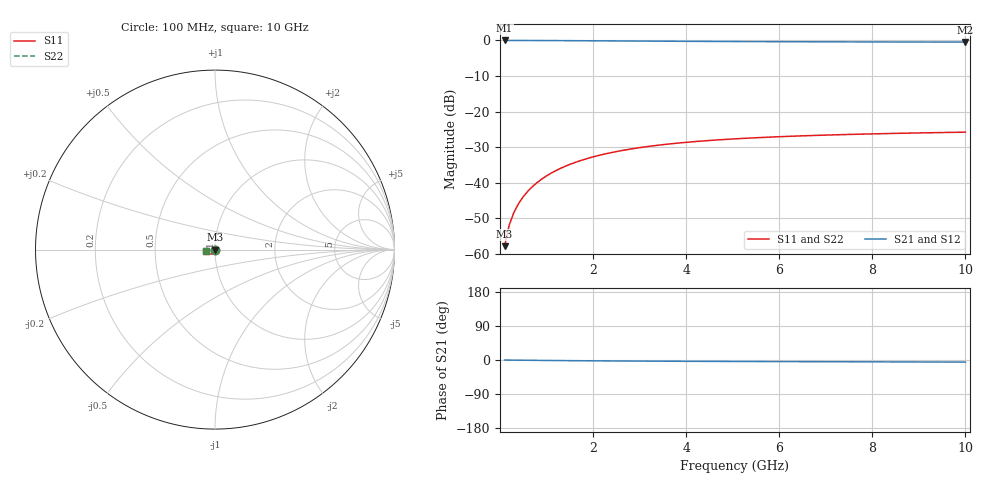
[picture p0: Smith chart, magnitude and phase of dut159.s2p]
! Touchstone file exported from HFSS 2024.1.0
!  File:  C:/UserFiles/LocalFiles/RDL_TSV_Batchsim/temp_TSV1_159_1779382202.aedt
!  Generated:  12:55:23 AM May 22, 2026
!  Design:  TSV1
!  Project:  temp_TSV1_159_1779382202
!  Setup:  Setup1
!  Solution:  Sweep
! Variables:
!  dtsv = 9.13um
!  hbump = 3um
!  htsv = 88.18um
!  lrdl = 252.1521522um
!  p = 40
!  p1 = 40.37um
!  t = 500um
!  trdl = 3um
!  wrdl = 24.89489489um
# GHz S MA R 50.000000
! Terminal data exported
! Port[1] = TSV22_T1
! Port[2] = TSV22_T2
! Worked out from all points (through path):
!   100 points, 100 MHz to 10 GHz, reference 50 ohm
!   highest |S21| = 0.00 dB at 100 MHz (marker M1); lowest = -0.5 dB at 10 GHz (marker M2)
!   lowest |S11| = -57.8 dB at 100 MHz (marker M3), VSWR 1.00, Z = 50 - j0.127 ohm
!   |S11| at or under -10 dB: start of sweep to end of sweep
!   |S22| runs from -57.8 to -25.8 dB; largest |S21 - S12| = 2e-15
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0.1  0.001282 -83.0  0.9998 -0.1  0.9998 -0.1  0.001282 -83.0
! Gamma 0 0 0 0
! Port Impedance 50 0 50 0
0.2  0.002548 -88.5  0.9997 -0.2  0.9997 -0.2  0.002548 -88.5
0.3  0.003821 -91.4  0.9995 -0.4  0.9995 -0.4  0.003821 -91.4
0.4  0.005091 -93.6  0.9992 -0.5  0.9992 -0.5  0.005091 -93.6
0.5  0.006354 -95.5  0.9989 -0.6  0.9989 -0.6  0.006354 -95.5
0.6  0.007606 -97.3  0.9985 -0.7  0.9985 -0.7  0.007606 -97.3
0.7  0.008845 -99.0  0.9981 -0.9  0.9981 -0.9  0.008845 -99.0
0.8  0.01007 -100.6  0.9976 -1.0  0.9976 -1.0  0.01007 -100.6
0.9  0.01128 -102.2  0.9971 -1.1  0.9971 -1.1  0.01128 -102.2
1.1  0.01363 -105.3  0.9959 -1.3  0.9959 -1.3  0.01363 -105.3
1.4  0.017 -109.7  0.9938 -1.6  0.9938 -1.6  0.017 -109.7
1.6  0.01913 -112.4  0.9922 -1.8  0.9922 -1.8  0.01913 -112.4
1.8  0.02115 -115.1  0.9906 -2.0  0.9906 -2.0  0.02115 -115.1
2.1  0.02398 -118.9  0.988 -2.2  0.988 -2.2  0.02398 -118.9
2.5  0.0274 -123.6  0.9844 -2.6  0.9844 -2.6  0.0274 -123.6
2.9  0.03042 -127.9  0.9809 -2.8  0.9809 -2.8  0.03042 -127.9
3.4  0.03368 -132.9  0.9768 -3.1  0.9768 -3.1  0.03368 -132.9
4.2  0.03791 -139.7  0.9708 -3.5  0.9708 -3.5  0.03791 -139.7
5.1  0.04154 -146.2  0.9651 -3.9  0.9651 -3.9  0.04154 -146.2
6.7  0.04606 -155.4  0.9576 -4.4  0.9576 -4.4  0.04606 -155.4
8.4  0.04923 -163.0  0.952 -5.0  0.952 -5.0  0.04923 -163.0
10  0.05135 -169.0  0.9483 -5.5  0.9483 -5.5  0.05135 -169.0
